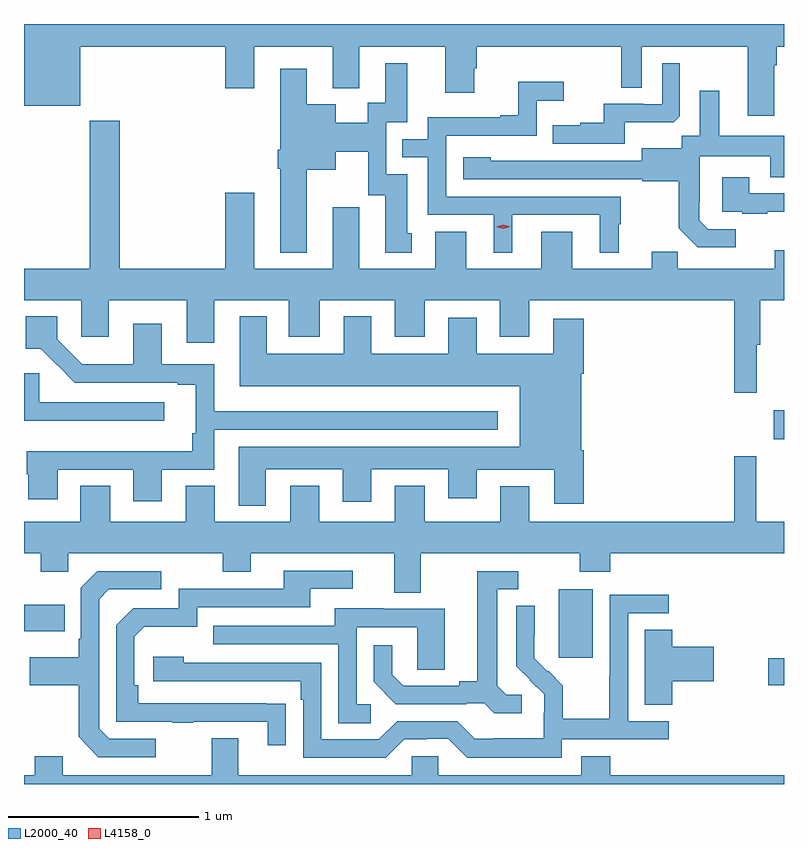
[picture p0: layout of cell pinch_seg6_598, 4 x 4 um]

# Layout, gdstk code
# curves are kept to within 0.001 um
import gdstk
lib = gdstk.Library(unit=1e-6, precision=1e-09)
def R(c, l, rs):  # rectangles x0, y0, x1, y1
    for r in rs: c.add(gdstk.rectangle(r[:2], r[2:], *l))
def P(c, l, *ps):  # polygons
    for p in ps: c.add(gdstk.Polygon(p, *l))
L2000_40 = (2000, 40)
L4158_0 = (4158, 0)

pinch_seg6_598 = lib.new_cell('pinch_seg6_598')
R(pinch_seg6_598, L2000_40, [(445.056,989.266,445.139,989.408), (443.954,989.409,444.133,989.77), (441.139,989.549,441.353,989.689), (445.086,990.56,445.139,990.713)])
P(pinch_seg6_598, L2000_40, [(445.087,992.528),(445.1,992.528),(445.1,992.624),(445.139,992.624),(445.139,992.745),(441.139,992.745),(441.139,992.315),(441.436,992.315),(441.436,992.624),(442.199,992.624),(442.199,992.406),(442.351,992.406),(442.351,992.624),(442.763,992.624),(442.763,992.408),(442.903,992.408),(442.903,992.624),(443.357,992.624),(443.357,992.382),(443.509,992.382),(443.509,992.511),(443.522,992.511),(443.522,992.624),(444.282,992.624),(444.282,992.41),(444.39,992.41),(444.39,992.624),(444.947,992.624),(444.947,992.262),(445.087,992.262)],
  [(444.301,992.228),(444.559,992.228),(444.591,992.259),(444.591,992.539),(444.498,992.539),(444.498,992.322),(444.398,992.322),(444.398,992.325),(444.191,992.325),(444.191,992.224),(444.067,992.224),(444.067,992.212),(443.923,992.212),(443.923,992.115),(444.301,992.115)],
  [(442.627,991.979),(442.78,991.979),(442.78,992.072),(442.95,992.072),(442.95,991.845),(443.039,991.845),(443.039,991.542),(443.179,991.542),(443.179,991.644),(443.155,991.644),(443.155,991.953),(443.046,991.953),(443.046,992.229),(443.155,992.229),(443.155,992.539),(443.039,992.539),(443.039,992.33),(442.949,992.33),(442.949,992.224),(442.78,992.224),(442.78,992.323),(442.627,992.323),(442.627,992.509),(442.487,992.509),(442.487,992.083),(442.475,992.083),(442.475,991.983),(442.487,991.983),(442.487,991.541),(442.627,991.541)],
  [(443.71,991.74),(444.17,991.74),(444.17,991.541),(444.268,991.541),(444.268,991.692),(444.28,991.692),(444.28,991.836),(443.361,991.836),(443.361,992.157),(443.838,992.157),(443.838,992.342),(443.98,992.342),(443.98,992.441),(443.74,992.441),(443.74,992.266),(443.645,992.266),(443.645,992.253),(443.265,992.253),(443.265,992.139),(443.131,992.139),(443.131,992.043),(443.265,992.043),(443.265,991.74),(443.612,991.74),(443.612,991.541),(443.71,991.541)],
  [(444.886,991.665),(444.741,991.665),(444.694,991.712),(444.694,991.807),(444.696,991.807),(444.696,992.048),(445.067,992.048),(445.067,991.939),(445.139,991.939),(445.139,992.158),(444.799,992.158),(444.799,992.395),(444.695,992.395),(444.695,992.156),(444.6,992.156),(444.6,992.092),(444.389,992.092),(444.389,992.025),(443.595,992.026),(443.595,992.044),(443.451,992.044),(443.451,991.929),(444.393,991.929),(444.393,991.917),(444.585,991.917),(444.585,991.671),(444.685,991.571),(444.886,991.571)],
  [(444.995,991.056),(445.013,991.056),(445.013,991.292),(445.139,991.292),(445.139,991.555),(445.091,991.555),(445.091,991.456),(444.581,991.456),(444.581,991.547),(444.443,991.547),(444.443,991.456),(444.025,991.456),(444.025,991.651),(443.861,991.651),(443.861,991.456),(443.467,991.456),(443.467,991.651),(443.303,991.651),(443.303,991.456),(442.903,991.456),(442.903,991.78),(442.763,991.78),(442.763,991.456),(442.351,991.456),(442.351,991.858),(442.199,991.858),(442.199,991.456),(441.644,991.456),(441.644,992.236),(441.484,992.236),(441.484,991.456),(441.139,991.456),(441.139,991.292),(441.441,991.292),(441.441,991.098),(441.586,991.098),(441.586,991.292),(441.995,991.292),(441.995,991.068),(442.141,991.068),(442.141,991.292),(442.532,991.292),(442.532,991.098),(442.696,991.098),(442.696,991.292),(443.09,991.292),(443.09,991.098),(443.248,991.098),(443.248,991.292),(443.642,991.292),(443.642,991.098),(443.797,991.098),(443.797,991.292),(444.877,991.292),(444.877,990.804),(444.995,990.804)],
  [(445.051,991.757),(445.139,991.757),(445.139,991.854),(444.955,991.854),(444.955,991.939),(444.815,991.939),(444.815,991.758),(444.919,991.758),(444.919,991.746),(445.051,991.746)],
  [(442.411,990.401),(442.817,990.401),(442.817,990.231),(442.966,990.231),(442.966,990.401),(443.372,990.401),(443.372,990.249),(443.521,990.249),(443.521,990.398),(443.93,990.398),(443.93,990.219),(444.086,990.219),(444.086,990.502),(444.073,990.502),(444.073,990.905),(444.086,990.905),(444.086,991.195),(443.924,991.195),(443.924,991.009),(443.521,991.009),(443.521,991.198),(443.372,991.198),(443.372,991.009),(442.966,991.009),(442.966,991.207),(442.823,991.207),(442.823,991.009),(442.417,991.009),(442.417,991.207),(442.274,991.207),(442.274,990.839),(443.747,990.839),(443.747,990.52),(442.268,990.52),(442.268,990.209),(442.411,990.209)],
  [(441.865,990.399),(442.14,990.399),(442.14,990.609),(443.632,990.609),(443.632,990.706),(442.141,990.706),(442.141,990.954),(441.865,990.954),(441.865,991.168),(441.713,991.168),(441.713,990.955),(441.446,990.955),(441.315,991.086),(441.315,991.207),(441.147,991.207),(441.147,991.037),(441.226,991.037),(441.407,990.858),(441.947,990.858),(441.947,990.846),(442.043,990.846),(442.043,990.592),(442.024,990.592),(442.024,990.496),(441.154,990.496),(441.154,990.374),(441.161,990.374),(441.161,990.243),(441.316,990.243),(441.316,990.399),(441.713,990.399),(441.713,990.234),(441.865,990.234)],
  [(441.877,990.753),(441.219,990.753),(441.219,990.907),(441.139,990.907),(441.139,990.656),(441.877,990.656)],
  [(444.064,989.861),(444.224,989.861),(444.224,989.96),(445.139,989.96),(445.139,990.124),(444.994,990.124),(444.994,990.469),(444.877,990.469),(444.877,990.124),(443.797,990.124),(443.797,990.313),(443.645,990.313),(443.645,990.124),(443.248,990.124),(443.248,990.316),(443.09,990.316),(443.09,990.124),(442.693,990.124),(442.693,990.316),(442.541,990.316),(442.541,990.124),(442.144,990.124),(442.144,990.314),(441.989,990.314),(441.989,990.124),(441.592,990.124),(441.592,990.314),(441.434,990.314),(441.434,990.124),(441.139,990.124),(441.139,989.96),(441.226,989.96),(441.226,989.861),(441.372,989.861),(441.372,989.96),(442.186,989.96),(442.186,989.861),(442.333,989.861),(442.333,989.96),(443.087,989.96),(443.087,989.752),(443.227,989.752),(443.227,989.96),(444.064,989.96)],
  [(442.517,989.168),(441.74,989.169),(441.74,989.266),(441.72,989.266),(441.72,989.52),(441.773,989.573),(442.05,989.573),(442.05,989.676),(442.645,989.676),(442.645,989.772),(442.87,989.772),(442.87,989.868),(442.505,989.868),(442.505,989.772),(441.954,989.772),(441.954,989.67),(441.714,989.67),(441.624,989.58),(441.624,989.073),(441.919,989.073),(441.919,989.068),(442.031,989.068),(442.031,989.073),(442.421,989.073),(442.421,988.95),(442.517,988.95)],
  [(441.832,988.983),(441.588,988.983),(441.534,989.037),(441.534,989.718),(441.585,989.769),(441.862,989.769),(441.862,989.865),(441.525,989.865),(441.438,989.778),(441.438,989.509),(441.426,989.509),(441.426,989.413),(441.169,989.413),(441.169,989.266),(441.426,989.266),(441.426,988.993),(441.531,988.887),(441.832,988.887)],
  [(443.758,989.214),(443.676,989.214),(443.629,989.261),(443.629,989.769),(443.74,989.769),(443.74,989.865),(443.525,989.865),(443.525,989.285),(443.429,989.285),(443.429,989.262),(443.134,989.262),(443.077,989.319),(443.077,989.476),(442.98,989.476),(442.98,989.282),(443.096,989.166),(443.468,989.166),(443.468,989.169),(443.562,989.169),(443.614,989.117),(443.758,989.117)],
  [(443.97,988.98),(444.532,988.98),(444.532,989.076),(444.318,989.076),(444.318,989.643),(444.532,989.643),(444.532,989.742),(444.222,989.742),(444.222,989.312),(444.22,989.312),(444.22,989.089),(443.975,989.089),(443.975,989.263),(443.898,989.34),(443.895,989.337),(443.825,989.408),(443.826,989.684),(443.73,989.684),(443.73,989.366),(443.876,989.218),(443.876,989.121),(443.874,989.121),(443.874,988.987),(443.611,988.987),(443.611,988.983),(443.511,988.983),(443.418,989.076),(443.103,989.076),(443.007,988.98),(442.704,988.98),(442.704,989.382),(441.98,989.382),(441.98,989.416),(441.819,989.416),(441.819,989.286),(442.595,989.286),(442.595,989.189),(442.608,989.189),(442.608,988.884),(443.043,988.884),(443.139,988.98),(443.258,988.98),(443.258,988.983),(443.373,988.983),(443.473,988.883),(443.97,988.883)],
  [(442.963,989.166),(442.89,989.166),(442.89,989.571),(443.208,989.571),(443.208,989.347),(443.353,989.347),(443.353,989.667),(443.029,989.667),(443.029,989.671),(442.775,989.671),(442.775,989.577),(442.135,989.577),(442.135,989.481),(442.794,989.481),(442.794,989.065),(442.963,989.065)],
  [(444.551,989.285),(444.769,989.285),(444.769,989.468),(444.551,989.468),(444.551,989.558),(444.407,989.558),(444.407,989.161),(444.551,989.161)],
  [(445.139,988.792),(444.224,988.792),(444.224,988.891),(444.071,988.891),(444.071,988.792),(443.319,988.792),(443.319,988.89),(443.181,988.89),(443.181,988.792),(442.267,988.792),(442.267,988.987),(442.127,988.987),(442.127,988.792),(441.343,988.792),(441.343,988.891),(441.196,988.891),(441.196,988.792),(441.139,988.792),(441.139,988.745),(445.139,988.745)])
P(pinch_seg6_598, L4158_0, [(443.661,991.668),(443.625,991.678),(443.625,991.678),(443.625,991.678),(443.661,991.688),(443.697,991.678),(443.697,991.678),(443.697,991.678)])

lib.write_gds('pinch_seg6_598.gds')
